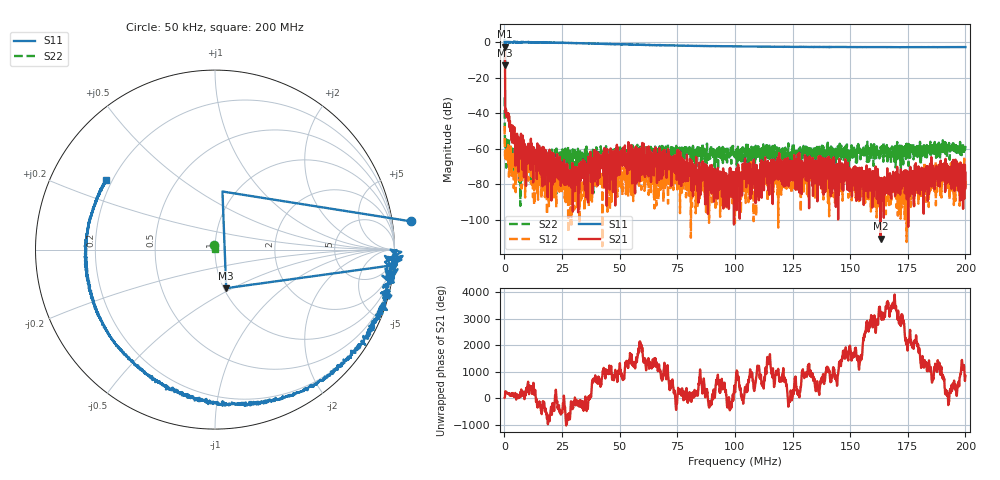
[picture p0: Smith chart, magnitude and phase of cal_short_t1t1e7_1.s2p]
! 26-Feb-26 1:46:14 PM
! E:\VNA_MEASUREMENTS\CAL_S11\CAL_SHORT_T1T1E7_1.S2P
! CHANNEL.1
! TR.MEASUREMENT
! CORRECTED.DATA
# GHZ S RI R 50.0
! FREQ.GHZ  S11RE  S11IM  S21RE  S21IM  S12RE  S12IM  S22RE  S22IM
!; PortSelection: Port_12
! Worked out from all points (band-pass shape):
!   2000 points, 50 kHz to 200 MHz, reference 50 ohm
!   highest |S21| = -2.65 dB at 50 kHz (marker M1); lowest = -110.5 dB at 163.2 MHz (marker M2)
!   |S21| within 3 dB of the highest: start of sweep to 130.6 kHz
!   lowest |S11| = -13.0 dB at 250 kHz (marker M3), VSWR 1.58, Z = 51.3 - j23.2 ohm
!   |S11| at or under -10 dB: 158.4 kHz to 273.6 kHz (115.2 kHz wide, 53.3 % of centre)
!   |S22| runs from -92.1 to -31.2 dB; largest |S21 - S12| = 0.73
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5e-05  1.092 0.1573  0.6559 0.3354  0.00446 -6.86e-05  -0.00352 0.0273
0.00025005  0.0624 -0.2149  -0.0756 0.1347  0.000251 0.000562  -0.000321 -0.0011
0.00145035  1.014 -0.0832  -0.00993 -0.00141  0.000267 0.000501  -0.000511 0.000513
0.005051251  0.9837 -0.1841  0.00126 -0.00117  5.75e-05 9.46e-05  -6.43e-05 -0.000207
0.008552126  0.9538 -0.2677  -0.000226 0.00102  -2.39e-05 -0.000331  0.000463 0.000158
0.01515378  0.8631 -0.4674  -0.00033 -0.000908  8.53e-05 0.000266  0.000426 -0.00033
0.02825705  0.5785 -0.7372  0.00011 -1.25e-05  1.86e-05 -0.000119  0.000692 0.000123
0.03345835  0.456 -0.7958  -9.42e-05 0.000331  0.000107 -3.29e-05  0.00053 0.000293
0.05126281  0.0354 -0.8635  0.000916 -0.000298  -0.000188 -9.72e-05  0.000402 8.39e-05
0.05636408  -0.0649 -0.8422  -0.000916 0.000357  -0.000412 6e-07  0.000632 4e-07
0.06676668  -0.2499 -0.7774  -0.000464 0.000556  -2.16e-05 -3.01e-05  0.000885 0.000143
0.08427106  -0.4746 -0.6091  -9.86e-05 -5.49e-05  8e-07 -8.71e-05  0.00065 0.000785
0.100075  -0.6079 -0.4492  -4.73e-05 -4.6e-05  -4.65e-05 4.17e-05  0.000439 0.000446
0.1043761  -0.6295 -0.4025  0.000191 0.000493  4.1e-06 6.11e-05  0.0005 0.000433
0.1099775  -0.6599 -0.3445  0.000121 8.98e-05  -0.000112 2.87e-05  0.000954 0.000693
0.1176794  -0.687 -0.2632  -0.000126 6.64e-05  4.66e-05 0.000154  0.000169 0.000562
0.1333833  -0.7162 -0.1077  -0.000129 0.000186  -0.000152 0.000137  0.000191 0.000902
0.1631908  -0.7046 0.1401  -2.2e-06 -2e-06  3.65e-05 0.000122  0.00112 1.04e-05
0.1666917  -0.6984 0.1665  -2.89e-05 5.51e-05  5.2e-06 0.000176  0.000419 0.000477
0.1931983  -0.6303 0.345  2.93e-05 -0.000114  7.2e-05 3.48e-05  0.000434 0.000237
0.1951988  -0.6234 0.3574  -0.000482 1.89e-05  -0.000181 0.000166  0.000989 0.000458
0.2  -0.6063 0.387  -0.000132 0.000166  3.16e-05 0.000121  0.000597 0.00105
